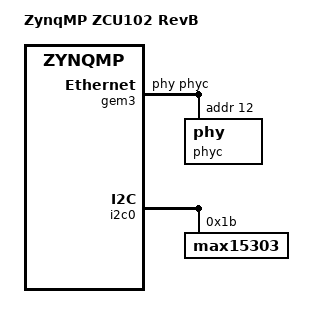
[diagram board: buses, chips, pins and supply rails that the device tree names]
/*
 * dts file for Xilinx ZynqMP ZCU102 RevB
 *
 * (C) Copyright 2016, Xilinx, Inc.
 *
 * Michal Simek <michal.simek@xilinx.com>
 *
 * SPDX-License-Identifier:	GPL-2.0+
 */

#include "zynqmp-zcu102.dts"

/ {
	model = "ZynqMP ZCU102 RevB";
};

&gem3 {
	phy-handle = <&phyc>;
	phyc: phy@c {
		reg = <0xc>;
		ti,rx-internal-delay = <0x8>;
		ti,tx-internal-delay = <0xa>;
		ti,fifo-depth = <0x1>;
	};
	/* Cleanup from RevA */
	/delete-node/ phy@21;
};

/* Different qspi 512Mbit version */

/* Fix collision with u61 */
&i2c0 {
	i2cswitch@75 {
		i2c@2 {
			max15303@1b { /* u8 */
				compatible = "max15303";
				reg = <0x1b>;
			};
			/delete-node/ max15303@20;
		};
	};
};
